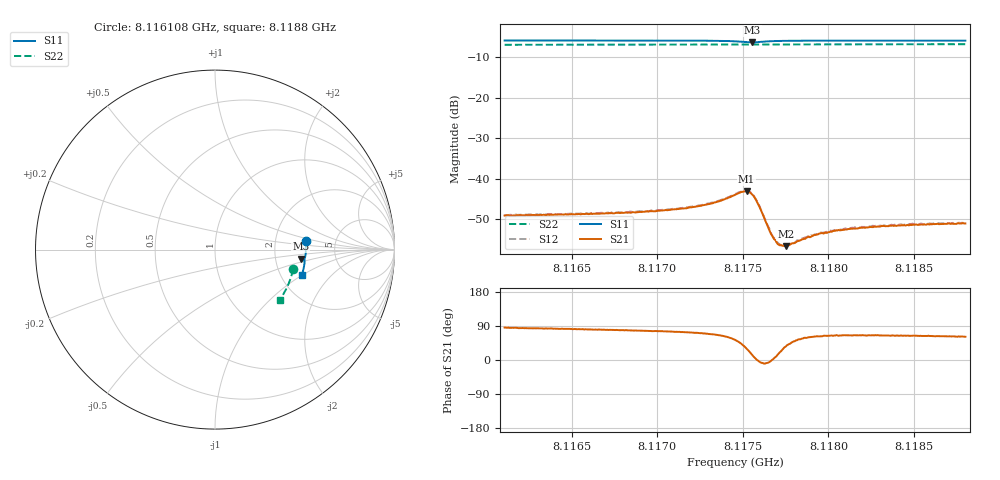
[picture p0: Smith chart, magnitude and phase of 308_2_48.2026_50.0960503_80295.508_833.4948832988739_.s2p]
#  HZ  S  RI  R  50.00
! Rohde & Schwarz Vector Network Analyzer
! Rohde-Schwarz,ZNB20-2Port,1311601062101988,3.16
! Created: UTC 3/20/2024, 11:49:52 AM
! freq[Hz]  re:S11  im:S11  re:S21  im:S21  re:S12  im:S12  re:S22  im:S22
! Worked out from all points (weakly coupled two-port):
!   401 points, 8.116108 GHz to 8.1188 GHz, reference 50 ohm
!   highest |S21| = -43.11 dB at 8.117521 GHz (marker M1); lowest = -56.6 dB at 8.11775 GHz (marker M2)
!   lowest |S11| = -6.4 dB at 8.117555 GHz (marker M3), VSWR 2.85, Z = 140 - j18.6 ohm
!   |S11| at or under -10 dB: nowhere
!   |S22| runs from -7.0 to -6.8 dB; largest |S21 - S12| = 0.00018
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8.1161078e9  0.5048 0.0501  0.000265 0.0035  0.000365 0.00354  0.4354 -0.1088
8.1165588e9  0.5063 0.0161  0.00055 0.0036  0.000622 0.00365  0.428 -0.1392
8.1170098e9  0.5053 -0.0188  0.000972 0.0039  0.00101 0.00396  0.4182 -0.169
8.1171646e9  0.5039 -0.0315  0.00124 0.00413  0.00131 0.00421  0.4145 -0.1793
8.1172588e9  0.5025 -0.0398  0.00151 0.0044  0.00162 0.00444  0.4121 -0.1854
8.1173598e9  0.4994 -0.0495  0.0022 0.00478  0.00226 0.00485  0.4092 -0.1921
8.117454e9  0.4918 -0.0588  0.00379 0.00507  0.00392 0.00513  0.4063 -0.1979
8.1174944e9  0.485 -0.0605  0.00513 0.00454  0.00527 0.00458  0.4049 -0.2005
8.1175213e9  0.4801 -0.0582  0.00602 0.00355  0.00619 0.00357  0.4038 -0.2019
8.117555e9  0.4775 -0.0513  0.00621 0.00139  0.00633 0.00141  0.4028 -0.2036
8.1175886e9  0.4819 -0.0455  0.00489 -0.00017  0.00499 -0.000242  0.4023 -0.2055
8.117656e9  0.4935 -0.0484  0.00227 -0.000191  0.00237 -0.000237  0.4008 -0.2097
8.1176829e9  0.4958 -0.0516  0.00178 0.000157  0.00184 0.000132  0.4002 -0.2116
8.1177098e9  0.4974 -0.0549  0.00146 0.000459  0.00151 0.000452  0.3993 -0.2133
8.1177233e9  0.4977 -0.0565  0.00139 0.000601  0.00139 0.000596  0.3991 -0.2142
8.1177502e9  0.4983 -0.0596  0.0012 0.00085  0.00122 0.000867  0.3981 -0.216
8.117905e9  0.4986 -0.0746  0.000947 0.00172  0.000977 0.00173  0.3933 -0.2258
8.1179589e9  0.4983 -0.0793  0.000974 0.00189  0.00102 0.00192  0.3916 -0.2292
8.1180464e9  0.4972 -0.0864  0.000952 0.0021  0.00101 0.00207  0.3888 -0.2346
8.1181406e9  0.496 -0.0939  0.00103 0.00219  0.00105 0.00225  0.3855 -0.2404
8.118356e9  0.4926 -0.1105  0.00113 0.00236  0.00114 0.0024  0.3777 -0.2535
8.1188003e9  0.4839 -0.143  0.00135 0.00246  0.00133 0.00254  0.3606 -0.2794
